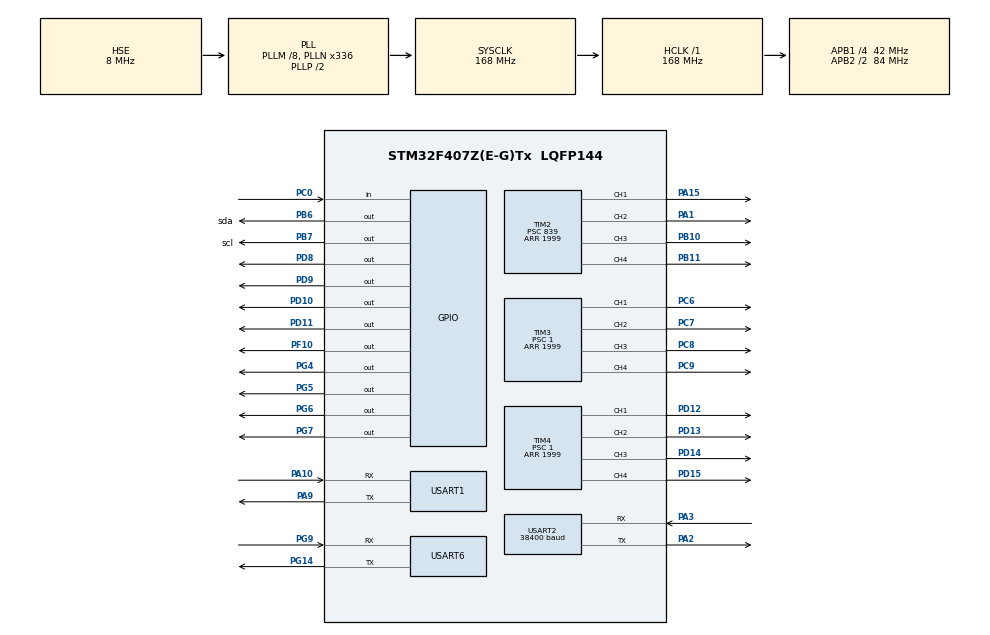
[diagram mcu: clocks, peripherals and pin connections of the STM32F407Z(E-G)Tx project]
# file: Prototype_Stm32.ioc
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Dma.Request0=USART1_RX
Dma.Request1=USART6_RX
Dma.USART1_RX.0.Direction=DMA_PERIPH_TO_MEMORY
Dma.USART1_RX.0.FIFOMode=DMA_FIFOMODE_DISABLE
Dma.USART1_RX.0.Instance=DMA2_Stream5
Dma.USART1_RX.0.MemDataAlignment=DMA_MDATAALIGN_BYTE
Dma.USART1_RX.0.MemInc=DMA_MINC_ENABLE
Dma.USART1_RX.0.Mode=DMA_NORMAL
Dma.USART1_RX.0.PeriphDataAlignment=DMA_PDATAALIGN_BYTE
Dma.USART1_RX.0.PeriphInc=DMA_PINC_DISABLE
Dma.USART1_RX.0.Priority=DMA_PRIORITY_MEDIUM
Dma.USART6_RX.1.Direction=DMA_PERIPH_TO_MEMORY
Dma.USART6_RX.1.FIFOMode=DMA_FIFOMODE_DISABLE
Dma.USART6_RX.1.Instance=DMA2_Stream1
Dma.USART6_RX.1.MemDataAlignment=DMA_MDATAALIGN_BYTE
Dma.USART6_RX.1.MemInc=DMA_MINC_ENABLE
Dma.USART6_RX.1.Mode=DMA_NORMAL
Dma.USART6_RX.1.PeriphDataAlignment=DMA_PDATAALIGN_BYTE
Dma.USART6_RX.1.PeriphInc=DMA_PINC_DISABLE
Dma.USART6_RX.1.Priority=DMA_PRIORITY_MEDIUM
FREERTOS.Tasks01=defaultTask,24,512,StartDefaultTask,Default,NULL,Dynamic,NULL,NULL;fun_ctrl_task,11,512,fun_ctrl_Task,Default,NULL,Dynamic,NULL,NULL;status_task,8,512,Status_Task,Default,NULL,Dynamic,NULL,NULL;neckTask,8,512,NeckTask,Default,NULL,Dynamic,NULL,NULL;uartTxTask,24,256,UartTxTask,Default,NULL,Dynamic,NULL,NULL;wheel_status_ta,8,128,Wheel_Status_Task,Default,NULL,Dynamic,NULL,NULL
Mcu.Family=STM32F4
Mcu.Name=STM32F407Z(E-G)Tx
Mcu.Package=LQFP144
NVIC.DMA2_Stream1_IRQn=true\:5\:0\:false\:false\:true\:true\:false\:true\:true
NVIC.DMA2_Stream5_IRQn=true\:5\:0\:false\:false\:true\:true\:false\:true\:true
NVIC.PriorityGroup=NVIC_PRIORITYGROUP_4
NVIC.TIM1_UP_TIM10_IRQn=true\:15\:0\:false\:false\:true\:false\:false\:true\:true
NVIC.TimeBase=TIM1_UP_TIM10_IRQn
NVIC.TimeBaseIP=TIM1
NVIC.USART1_IRQn=true\:5\:0\:true\:false\:true\:true\:true\:true\:true
NVIC.USART2_IRQn=true\:5\:0\:false\:false\:true\:true\:true\:true\:true
NVIC.USART6_IRQn=true\:5\:0\:false\:false\:true\:true\:true\:true\:true
PA1.Signal=S_TIM2_CH2
PA10.Mode=Asynchronous
PA10.Signal=USART1_RX
PA13.Mode=Serial_Wire
PA13.Signal=SYS_JTMS-SWDIO
PA14.Mode=Serial_Wire
PA14.Signal=SYS_JTCK-SWCLK
PA15.Signal=S_TIM2_CH1_ETR
PA2.Mode=Asynchronous
PA2.Signal=USART2_TX
PA3.Mode=Asynchronous
PA3.Signal=USART2_RX
PA9.Mode=Asynchronous
PA9.Signal=USART1_TX
PB10.Signal=S_TIM2_CH3
PB11.Signal=S_TIM2_CH4
PB6.GPIO_Label=sda
PB6.GPIO_ModeDefaultOutputPP=GPIO_MODE_OUTPUT_OD
PB6.GPIO_PuPd=GPIO_PULLUP
PB6.GPIO_Speed=GPIO_SPEED_FREQ_HIGH
PB6.Signal=GPIO_Output
PB7.GPIO_Label=scl
PB7.GPIO_ModeDefaultOutputPP=GPIO_MODE_OUTPUT_OD
PB7.GPIO_PuPd=GPIO_NOPULL
PB7.GPIO_Speed=GPIO_SPEED_FREQ_HIGH
PB7.Signal=GPIO_Output
PC0.Signal=GPIO_Input
PC6.Signal=S_TIM3_CH1
PC7.Signal=S_TIM3_CH2
PC8.Signal=S_TIM3_CH3
PC9.Signal=S_TIM3_CH4
PD10.Signal=GPIO_Output
PD11.Signal=GPIO_Output
PD12.Signal=S_TIM4_CH1
PD13.Signal=S_TIM4_CH2
PD14.Signal=S_TIM4_CH3
PD15.Signal=S_TIM4_CH4
PD8.Signal=GPIO_Output
PD9.Signal=GPIO_Output
PF10.PinState=GPIO_PIN_SET
PF10.Signal=GPIO_Output
PG14.Mode=Asynchronous
PG14.Signal=USART6_TX
PG4.Signal=GPIO_Output
PG5.Signal=GPIO_Output
PG6.Signal=GPIO_Output
PG7.Signal=GPIO_Output
PG9.Mode=Asynchronous
PG9.Signal=USART6_RX
PH0-OSC_IN.Mode=HSE-External-Oscillator
PH0-OSC_IN.Signal=RCC_OSC_IN
PH1-OSC_OUT.Mode=HSE-External-Oscillator
PH1-OSC_OUT.Signal=RCC_OSC_OUT
ProjectManager.HeapSize=0x400
ProjectManager.StackSize=0x1000
ProjectManager.TargetToolchain=MDK-ARM V5.32
RCC.48MHZClocksFreq_Value=84000000
RCC.AHBFreq_Value=168000000
RCC.APB1CLKDivider=RCC_HCLK_DIV4
RCC.APB1Freq_Value=42000000
RCC.APB1TimFreq_Value=84000000
RCC.APB2CLKDivider=RCC_HCLK_DIV2
RCC.APB2Freq_Value=84000000
RCC.APB2TimFreq_Value=168000000
RCC.CortexFreq_Value=168000000
RCC.HCLKFreq_Value=168000000
RCC.HSE_VALUE=8000000
RCC.HSI_VALUE=16000000
RCC.LSE_VALUE=32768
RCC.PLLM=8
RCC.PLLN=336
RCC.PLLSourceVirtual=RCC_PLLSOURCE_HSE
RCC.SYSCLKFreq_VALUE=168000000
RCC.SYSCLKSource=RCC_SYSCLKSOURCE_PLLCLK
RCC.VCOOutputFreq_Value=336000000
SH.S_TIM2_CH1_ETR.0=TIM2_CH1,PWM Generation1 CH1
SH.S_TIM2_CH2.0=TIM2_CH2,PWM Generation2 CH2
SH.S_TIM2_CH3.0=TIM2_CH3,PWM Generation3 CH3
SH.S_TIM2_CH4.0=TIM2_CH4,PWM Generation4 CH4
SH.S_TIM3_CH1.0=TIM3_CH1,PWM Generation1 CH1
SH.S_TIM3_CH2.0=TIM3_CH2,PWM Generation2 CH2
SH.S_TIM3_CH3.0=TIM3_CH3,PWM Generation3 CH3
SH.S_TIM3_CH4.0=TIM3_CH4,PWM Generation4 CH4
SH.S_TIM4_CH1.0=TIM4_CH1,PWM Generation1 CH1
SH.S_TIM4_CH2.0=TIM4_CH2,PWM Generation2 CH2
SH.S_TIM4_CH3.0=TIM4_CH3,PWM Generation3 CH3
SH.S_TIM4_CH4.0=TIM4_CH4,PWM Generation4 CH4
TIM2.Channel-PWM\ Generation1\ CH1=TIM_CHANNEL_1
TIM2.Channel-PWM\ Generation2\ CH2=TIM_CHANNEL_2
TIM2.Channel-PWM\ Generation3\ CH3=TIM_CHANNEL_3
TIM2.Channel-PWM\ Generation4\ CH4=TIM_CHANNEL_4
TIM2.Period=1999
TIM2.Prescaler=839
TIM3.Channel-PWM\ Generation1\ CH1=TIM_CHANNEL_1
TIM3.Channel-PWM\ Generation2\ CH2=TIM_CHANNEL_2
TIM3.Channel-PWM\ Generation3\ CH3=TIM_CHANNEL_3
TIM3.Channel-PWM\ Generation4\ CH4=TIM_CHANNEL_4
TIM3.Period=1999
TIM3.Prescaler=1
TIM4.Channel-PWM\ Generation1\ CH1=TIM_CHANNEL_1
TIM4.Channel-PWM\ Generation2\ CH2=TIM_CHANNEL_2
TIM4.Channel-PWM\ Generation3\ CH3=TIM_CHANNEL_3
TIM4.Channel-PWM\ Generation4\ CH4=TIM_CHANNEL_4
TIM4.Period=1999
TIM4.Prescaler=1
USART1.VirtualMode=VM_ASYNC
USART2.BaudRate=38400
USART2.VirtualMode=VM_ASYNC
USART6.VirtualMode=VM_ASYNC
VP_FREERTOS_VS_CMSIS_V2.Mode=CMSIS_V2
VP_SYS_VS_tim1.Mode=TIM1
board=custom

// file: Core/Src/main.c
/* USER CODE BEGIN Header */
/**
  ******************************************************************************
  * @file           : main.c
  * @brief          : Main program body
  ******************************************************************************
  * @attention
  *
  * Copyright (c) 2025 STMicroelectronics.
  * All rights reserved.
  *
  * This software is licensed under terms that can be found in the LICENSE file
  * in the root directory of this software component.
  * If no LICENSE file comes with this software, it is provided AS-IS.
  *
  ******************************************************************************
  */
/* USER CODE END Header */
#include "main.h"
#include "cmsis_os.h"
#include "dma.h"
#include "tim.h"
#include "usart.h"
#include "gpio.h"

/* USER CODE BEGIN Includes */
#include "user_main.h"
/* USER CODE END Includes */

void SystemClock_Config(void);
void MX_FREERTOS_Init(void);

/* USER CODE BEGIN 0 */
xUART_TypeDef xUART2 = {0};
/* USER CODE END 0 */

int main(void)
{

  /* MCU Configuration--------------------------------------------------------*/

  /* Reset of all peripherals, Initializes the Flash interface and the Systick. */
  HAL_Init();

  /* Configure the system clock */
  SystemClock_Config();

  /* Initialize all configured peripherals */
  MX_GPIO_Init();
  MX_DMA_Init();
  MX_USART1_UART_Init();
  MX_USART2_UART_Init();
  MX_TIM3_Init();
  MX_TIM4_Init();
  MX_TIM2_Init();
  MX_USART6_UART_Init();
  /* USER CODE BEGIN 2 */
	if (HAL_TIM_PWM_Start(&htim2, TIM_CHANNEL_1) != HAL_OK) { Error_Handler(); }
  if (HAL_TIM_PWM_Start(&htim2, TIM_CHANNEL_2) != HAL_OK) { Error_Handler(); }
  if (HAL_TIM_PWM_Start(&htim2, TIM_CHANNEL_3) != HAL_OK) { Error_Handler(); }
  if (HAL_TIM_PWM_Start(&htim2, TIM_CHANNEL_4) != HAL_OK) { Error_Handler(); }

	if (HAL_TIM_PWM_Start(&htim3, TIM_CHANNEL_1) != HAL_OK) { Error_Handler(); }
  if (HAL_TIM_PWM_Start(&htim3, TIM_CHANNEL_2) != HAL_OK) { Error_Handler(); }
  if (HAL_TIM_PWM_Start(&htim3, TIM_CHANNEL_3) != HAL_OK) { Error_Handler(); }
  if (HAL_TIM_PWM_Start(&htim3, TIM_CHANNEL_4) != HAL_OK) { Error_Handler(); }

  if (HAL_TIM_PWM_Start(&htim4, TIM_CHANNEL_1) != HAL_OK) { Error_Handler(); }
  if (HAL_TIM_PWM_Start(&htim4, TIM_CHANNEL_2) != HAL_OK) { Error_Handler(); }
  if (HAL_TIM_PWM_Start(&htim4, TIM_CHANNEL_3) != HAL_OK) { Error_Handler(); }
  if (HAL_TIM_PWM_Start(&htim4, TIM_CHANNEL_4) != HAL_OK) { Error_Handler(); }

	Stepper_Init();
	delay_init();

	HAL_Delay(3000);
	moto_r_init();
	moto_l_init();
  /* USER CODE END 2 */

  /* Init scheduler */
  osKernelInitialize();  /* Call init function for freertos objects (in cmsis_os2.c) */
  MX_FREERTOS_Init();

  /* Start scheduler */
  osKernelStart();

  /* We should never get here as control is now taken by the scheduler */

  /* Infinite loop */
  /* USER CODE BEGIN WHILE */
	user_main();

  while (1)
  {
    /* USER CODE END WHILE */

  }
}

void SystemClock_Config(void)
{
  RCC_OscInitTypeDef RCC_OscInitStruct = {0};
  RCC_ClkInitTypeDef RCC_ClkInitStruct = {0};

  /** Configure the main internal regulator output voltage
  */
  __HAL_RCC_PWR_CLK_ENABLE();
  __HAL_PWR_VOLTAGESCALING_CONFIG(PWR_REGULATOR_VOLTAGE_SCALE1);

  /** Initializes the RCC Oscillators according to the specified parameters
  * in the RCC_OscInitTypeDef structure.
  */
  RCC_OscInitStruct.OscillatorType = RCC_OSCILLATORTYPE_HSE;
  RCC_OscInitStruct.HSEState = RCC_HSE_ON;
  RCC_OscInitStruct.PLL.PLLState = RCC_PLL_ON;
  RCC_OscInitStruct.PLL.PLLSource = RCC_PLLSOURCE_HSE;
  RCC_OscInitStruct.PLL.PLLM = 8;
  RCC_OscInitStruct.PLL.PLLN = 336;
  RCC_OscInitStruct.PLL.PLLP = RCC_PLLP_DIV2;
  RCC_OscInitStruct.PLL.PLLQ = 4;
  if (HAL_RCC_OscConfig(&RCC_OscInitStruct) != HAL_OK)
  {
    Error_Handler();
  }

  /** Initializes the CPU, AHB and APB buses clocks
  */
  RCC_ClkInitStruct.ClockType = RCC_CLOCKTYPE_HCLK|RCC_CLOCKTYPE_SYSCLK
                              |RCC_CLOCKTYPE_PCLK1|RCC_CLOCKTYPE_PCLK2;
  RCC_ClkInitStruct.SYSCLKSource = RCC_SYSCLKSOURCE_PLLCLK;
  RCC_ClkInitStruct.AHBCLKDivider = RCC_SYSCLK_DIV1;
  RCC_ClkInitStruct.APB1CLKDivider = RCC_HCLK_DIV4;
  RCC_ClkInitStruct.APB2CLKDivider = RCC_HCLK_DIV2;

  if (HAL_RCC_ClockConfig(&RCC_ClkInitStruct, FLASH_LATENCY_5) != HAL_OK)
  {
    Error_Handler();
  }
}

void HAL_TIM_PeriodElapsedCallback(TIM_HandleTypeDef *htim)
{
  if (htim->Instance == TIM1)
  {
    HAL_IncTick();
  }
}

void Error_Handler(void)
{
  __disable_irq();
  while (1)
  {
  }
}

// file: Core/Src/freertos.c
/* USER CODE BEGIN Header */
/**
  ******************************************************************************
  * File Name          : freertos.c
  * Description        : Code for freertos applications
  ******************************************************************************
  * @attention
  *
  * Copyright (c) 2025 STMicroelectronics.
  * All rights reserved.
  *
  * This software is licensed under terms that can be found in the LICENSE file
  * in the root directory of this software component.
  * If no LICENSE file comes with this software, it is provided AS-IS.
  *
  ******************************************************************************
  */
/* USER CODE END Header */

#include "FreeRTOS.h"
#include "task.h"
#include "main.h"
#include "cmsis_os.h"

/* USER CODE BEGIN Includes */
#include "usart.h"
#include "user_main.h"
#include "demo.h"
#include "../Platform/IMU/lsm6dsv16x_reg.h"
#include "../Platform/IMU/atk_ms6dsv.h"
/* USER CODE END Includes */

/* USER CODE BEGIN PD */
	uint8_t ret;
	int16_t data_raw_acceleration[3];
	int16_t data_raw_angular_rate[3];
/* USER CODE END PD */

/* Definitions for defaultTask */
osThreadId_t defaultTaskHandle;
const osThreadAttr_t defaultTask_attributes = {
  .name = "defaultTask",
  .stack_size = 512 * 4,
  .priority = (osPriority_t) osPriorityNormal,
};
/* Definitions for fun_ctrl_task */
osThreadId_t fun_ctrl_taskHandle;
const osThreadAttr_t fun_ctrl_task_attributes = {
  .name = "fun_ctrl_task",
  .stack_size = 512 * 4,
  .priority = (osPriority_t) osPriorityLow3,
};
/* Definitions for status_task */
osThreadId_t status_taskHandle;
const osThreadAttr_t status_task_attributes = {
  .name = "status_task",
  .stack_size = 512 * 4,
  .priority = (osPriority_t) osPriorityLow,
};
/* Definitions for neckTask */
osThreadId_t neckTaskHandle;
const osThreadAttr_t neckTask_attributes = {
  .name = "neckTask",
  .stack_size = 512 * 4,
  .priority = (osPriority_t) osPriorityLow,
};
/* Definitions for uartTxTask */
osThreadId_t uartTxTaskHandle;
const osThreadAttr_t uartTxTask_attributes = {
  .name = "uartTxTask",
  .stack_size = 256 * 4,
  .priority = (osPriority_t) osPriorityNormal,
};
/* Definitions for wheel_status_ta */
osThreadId_t wheel_status_taHandle;
const osThreadAttr_t wheel_status_ta_attributes = {
  .name = "wheel_status_ta",
  .stack_size = 128 * 4,
  .priority = (osPriority_t) osPriorityLow,
};

/* USER CODE BEGIN FunctionPrototypes */
typedef struct {
    int16_t angle;
		int16_t pitch_angle;
} neck_cmd_t;

QueueHandle_t neckQueue;
QueueHandle_t uartQueue;
QueueHandle_t uartTxQueue;
QueueHandle_t motorCmdQueue;

osMutexId_t uart_mutex;
fsm_lib_return main_ctrl_fsm(fsm_lib_ctrl_handle *handle);
fsm_lib_ctrl_handle main_ctrl_fsm_handle;
int32_t mileage_r = 0;
int16_t cur_pos_r = 0;
int32_t mileage_l = 0;
int16_t cur_pos_l = 0;
uint8_t send_data[16];
uart_tx_frame_t tx;
uint32_t ts;
volatile uint32_t imu_time_base = 0;

/* USER CODE END FunctionPrototypes */

void StartDefaultTask(void *argument);
void fun_ctrl_Task(void *argument);
void Status_Task(void *argument);
void NeckTask(void *argument);
void UartTxTask(void *argument);
void Wheel_Status_Task(void *argument);

void MX_FREERTOS_Init(void); /* (MISRA C 2004 rule 8.1) */

void MX_FREERTOS_Init(void) {

  /* USER CODE BEGIN RTOS_QUEUES */
  /* add queues, ... */

	uartQueue = xQueueCreate(8,sizeof(uart_frame_t));
	configASSERT(uartQueue != NULL);
	uartTxQueue = xQueueCreate(8, sizeof(uart_tx_frame_t));
	configASSERT(uartTxQueue);
	neckQueue = xQueueCreate(8, sizeof(neck_cmd_t));
	configASSERT(neckQueue != NULL);
	motorCmdQueue = xQueueCreate(4, sizeof(cmd_vel_t));
	configASSERT(motorCmdQueue != NULL);

	uart_mutex = osMutexNew(NULL);
  configASSERT(uart_mutex != NULL);
  /* USER CODE END RTOS_QUEUES */

  /* Create the thread(s) */
  /* creation of defaultTask */
  defaultTaskHandle = osThreadNew(StartDefaultTask, NULL, &defaultTask_attributes);

  /* creation of fun_ctrl_task */
  fun_ctrl_taskHandle = osThreadNew(fun_ctrl_Task, NULL, &fun_ctrl_task_attributes);

  /* creation of status_task */
  status_taskHandle = osThreadNew(Status_Task, NULL, &status_task_attributes);

  /* creation of neckTask */
  neckTaskHandle = osThreadNew(NeckTask, NULL, &neckTask_attributes);

  /* creation of uartTxTask */
  uartTxTaskHandle = osThreadNew(UartTxTask, NULL, &uartTxTask_attributes);

  /* creation of wheel_status_ta */
  wheel_status_taHandle = osThreadNew(Wheel_Status_Task, NULL, &wheel_status_ta_attributes);

}

/* USER CODE BEGIN Header_StartDefaultTask */
/**
  * @brief  Function implementing the defaultTask thread.
  * @param  argument: Not used
  * @retval None
  */
serial_frame_t pkt;
cmd_vel_t cmd;
neck_cmd_t neck_cmd;
uint8_t  cur_cmd;
float v_left_ret  = 0.0f;
float v_right_ret = 0.0f;
/* USER CODE END Header_StartDefaultTask */
void StartDefaultTask(void *argument)
{
  /* USER CODE BEGIN StartDefaultTask */
  /* Infinite loop */
  uint16_t rx_len;
	uart_frame_t frame;
	uint8_t tx_buf[32];
	uint16_t tx_len;
	//test git
	for (;;)
	{
			if (xQueueReceive(uartQueue,&frame,portMAX_DELAY) == pdPASS)
      {
					//Unpacking
					//printf("%s", frame.data);
					serial_frame_ret_t ret =
                serial_frame_parse((uint8_t *)frame.data, frame.len, &pkt);
						cur_cmd = pkt.cmd;
            if (ret == SERIAL_FRAME_OK)
            {
                switch (pkt.cmd)
                {
                case 0x01:
								{
												cmd.linear_x_mm_s =
									(int16_t)((pkt.data[0] << 8) | pkt.data[1]);
												cmd.angular_z_mrad =
									(int16_t)((pkt.data[2] << 8) | pkt.data[3]);
											xQueueSendToBack(motorCmdQueue, &cmd, 0);
										break;
								}

                case 0x02:
								{
									  ArmGive();
										uint8_t ack_data[] = {0x00};
										tx_len = serial_frame_build(0x82, ack_data, 1,tx_buf, sizeof(tx_buf));
										HAL_UART_Transmit(&huart6, tx_buf, tx_len, 100);
                    break;
								}
								case 0x03:
								{
										ArmWave();
										uint8_t ack_data[] = {0x00};
										tx_len = serial_frame_build(0x83, ack_data, 1,tx_buf, sizeof(tx_buf));
										HAL_UART_Transmit(&huart6, tx_buf, tx_len, 100);
                    break;
								}
                case 0x04:
								{
										ArmRaise();
										uint8_t ack_data[] = {0x00};
										tx_len = serial_frame_build(0x84, ack_data, 1,tx_buf, sizeof(tx_buf));
										HAL_UART_Transmit(&huart6, tx_buf, tx_len, 100);
                    break;
								}
								case 0x05:
								{
										//ack
										neck_cmd.angle       = (int16_t)((pkt.data[0] << 8) | pkt.data[1]);
										neck_cmd.pitch_angle = (int16_t)((pkt.data[2] << 8) | pkt.data[3]);

										xQueueSendToBack(neckQueue, &neck_cmd, 0);

										uint8_t ack_data[] = {0x00};
										tx_len = serial_frame_build(0x85, ack_data, 1,tx_buf, sizeof(tx_buf));
										HAL_UART_Transmit(&huart6, tx_buf, tx_len, 100);
                    break;
								}
                case 0x06:
								{
										ArmRaise2();
										uint8_t ack_data[] = {0x00};
										tx_len = serial_frame_build(0x86, ack_data, 1,tx_buf, sizeof(tx_buf));
										HAL_UART_Transmit(&huart6, tx_buf, tx_len, 100);
                    break;
								}
								case 0x07:
								{
										ArmRaise3();
										uint8_t ack_data[] = {0x00};
										tx_len = serial_frame_build(0x87, ack_data, 1,tx_buf, sizeof(tx_buf));
										HAL_UART_Transmit(&huart6, tx_buf, tx_len, 100);
                    break;
								}
								case 0x08:
								{
										NeckUpDown();
										uint8_t ack_data[] = {0x00};
										tx_len = serial_frame_build(0x88, ack_data, 1,tx_buf, sizeof(tx_buf));
										HAL_UART_Transmit(&huart6, tx_buf, tx_len, 100);
                    break;
								}
								case 0x09:
								{
										Armidle1();
										uint8_t ack_data[] = {0x00};
										tx_len = serial_frame_build(0x89, ack_data, 1,tx_buf, sizeof(tx_buf));
										HAL_UART_Transmit(&huart6, tx_buf, tx_len, 100);
                    break;
								}
                default:
                    break;
                }
            }
            else
            {
            }
      }
			osDelay(10);
	}
  /* USER CODE END StartDefaultTask */
}

/* USER CODE BEGIN Header_fun_ctrl_Task */
/**
* @brief Function implementing the fun_ctrl_task thread.
* @param argument: Not used
* @retval None

*/
int16_t ret_speed,ret_speed_r;
int32_t v_left_mm_s,v_right_mm_s;
/* USER CODE END Header_fun_ctrl_Task */
void fun_ctrl_Task(void *argument)
{
  /* USER CODE BEGIN fun_ctrl_Task */

	//neck_init
	Neckinit();

	fsm_lib_start(&main_ctrl_fsm_handle);
  /* Infinite loop */
	int16_t start_angle = 70;
  int16_t end_angle   = 140;
	int16_t pitch_start = 0;
  int16_t pitch_end   = 60;
  //neck_cmd_t cmd;
	float v_left, v_right;
	cmd_vel_t cmd;
	//GoAhead();
//	ArmGive();
//	osDelay(1000);
//	Armidle1();
//	osDelay(1000);
//	Armidle1();
//	osDelay(1000);
//	Armidle1();
//	osDelay(1000);
//	ArmRaise();
//	osDelay(1000);
//	ArmRaise1();
//	osDelay(1000);
//	ArmRaise2();
//	osDelay(1000);
//	ArmRaise3();
//	NeckUpDown();
//	osDelay(3000);
//	NeckUpDown();
		for(;;)
{
    if (xQueueReceive(motorCmdQueue, &cmd, portMAX_DELAY) == pdPASS)
    {
        if (osMutexAcquire(uart_mutex, osWaitForever) == osOK)
        {
            float v_left_mps  = 0.0f;
            float v_right_mps = 0.0f;

            motor_set_get_speed_from_cmd(&cmd, 10, &v_left_mps, &v_right_mps);

            int32_t mileage_r = m0603a_lib_get_mileage_count(&motor_r_handle);
            int32_t cur_pos_r = m0603a_lib_get_cur_pos(&motor_r_handle);
            int32_t mileage_l = m0603a_lib_get_mileage_count(&motor_l_handle);
            int32_t cur_pos_l = m0603a_lib_get_cur_pos(&motor_l_handle);

            v_left_mm_s  = (int32_t)(v_left_mps  * 10000.0f);
            v_right_mm_s = (int32_t)(v_right_mps * 10000.0f);

            uint8_t send_data[24];
            ts = imu_time_base;

            send_data[0] = ts >> 24;
            send_data[1] = ts >> 16;
            send_data[2] = ts >> 8;
            send_data[3] = ts & 0xFF;

            send_data[4]  = mileage_l >> 24;
            send_data[5]  = mileage_l >> 16;
            send_data[6]  = mileage_l >> 8;
            send_data[7]  = mileage_l & 0xFF;
            send_data[8]  = cur_pos_l >> 8;
            send_data[9]  = cur_pos_l & 0xFF;

            send_data[10] = v_left_mm_s >> 24;
            send_data[11] = v_left_mm_s >> 16;
            send_data[12] = v_left_mm_s >> 8;
            send_data[13] = v_left_mm_s & 0xFF;

            send_data[14] = mileage_r >> 24;
            send_data[15] = mileage_r >> 16;
            send_data[16] = mileage_r >> 8;
            send_data[17] = mileage_r & 0xFF;
            send_data[18] = cur_pos_r >> 8;
            send_data[19] = cur_pos_r & 0xFF;

            send_data[20] = v_right_mm_s >> 24;
            send_data[21] = v_right_mm_s >> 16;
            send_data[22] = v_right_mm_s >> 8;
            send_data[23] = v_right_mm_s & 0xFF;

            uart_tx_frame_t tx;
            tx.len = serial_frame_build(0x81, send_data, sizeof(send_data), tx.buf, sizeof(tx.buf));
            xQueueSendToBack(uartTxQueue, &tx, 0);

            osMutexRelease(uart_mutex);
        }
    }
    osDelay(1);
}
  /* USER CODE END fun_ctrl_Task */
}

void Status_Task(void *argument)
{
  /* USER CODE BEGIN Status_Task */
	uint32_t last_led_tick = 0;
	uint32_t last_motor_tick = 0;
  ret = atk_ms6dsv_init();
  if (ret != 0)
  {
      printf("ATK-MS6DSV init failed!\r\n");
		  osDelay(200);
  }

	lsm6dsv16x_filt_settling_mask_t filt_settling_mask;
	lsm6dsv16x_data_ready_t drdy;
	uint8_t imu_data[16];
	int16_t data_raw_temperature;

	float acceleration_mg[3];
	float angular_rate_mdps[3];
  lsm6dsv16x_xl_data_rate_set(&atk_ms6dsv, LSM6DSV16X_ODR_AT_240Hz);
  lsm6dsv16x_gy_data_rate_set(&atk_ms6dsv, LSM6DSV16X_ODR_AT_240Hz);

  lsm6dsv16x_xl_full_scale_set(&atk_ms6dsv, LSM6DSV16X_2g);
  lsm6dsv16x_gy_full_scale_set(&atk_ms6dsv, LSM6DSV16X_2000dps);

	lsm6dsv16x_timestamp_set(&atk_ms6dsv, PROPERTY_ENABLE);

  filt_settling_mask.drdy = PROPERTY_ENABLE;
  filt_settling_mask.irq_xl = PROPERTY_ENABLE;
  filt_settling_mask.irq_g = PROPERTY_ENABLE;
  lsm6dsv16x_filt_settling_mask_set(&atk_ms6dsv, filt_settling_mask);
  lsm6dsv16x_filt_gy_lp1_set(&atk_ms6dsv, PROPERTY_ENABLE);
  lsm6dsv16x_filt_gy_lp1_bandwidth_set(&atk_ms6dsv, LSM6DSV16X_GY_ULTRA_LIGHT);
  lsm6dsv16x_filt_xl_lp2_set(&atk_ms6dsv, PROPERTY_ENABLE);
  lsm6dsv16x_filt_xl_lp2_bandwidth_set(&atk_ms6dsv, LSM6DSV16X_XL_STRONG);
	//uart_tx_frame_t tx;
	uint8_t tx_buf[64];
	uint16_t tx_len;
	static uint32_t last_wheel_tx_tick = 0;
	const uint32_t wheel_tx_interval = 50; // 50ms = 20Hz
  /* Infinite loop */
  for(;;)
  {
		//touch senior  todo
		  uint32_t now = osKernelGetTickCount();
		  if (now - last_led_tick >= 1000)
		  {
				  last_led_tick = now;
				  HAL_GPIO_TogglePin(GPIOF, GPIO_PIN_10);
		  }

		  //imu
      lsm6dsv16x_flag_data_ready_get(&atk_ms6dsv, &drdy);
      if (drdy.drdy_xl)
      {
           lsm6dsv16x_acceleration_raw_get(&atk_ms6dsv, data_raw_acceleration);
           acceleration_mg[0] = lsm6dsv16x_from_fs2_to_mg(data_raw_acceleration[0]);
           acceleration_mg[1] = lsm6dsv16x_from_fs2_to_mg(data_raw_acceleration[1]);
           acceleration_mg[2] = lsm6dsv16x_from_fs2_to_mg(data_raw_acceleration[2]);
      }

      if (drdy.drdy_gy)
      {
           lsm6dsv16x_angular_rate_raw_get(&atk_ms6dsv, data_raw_angular_rate);
           angular_rate_mdps[0] = lsm6dsv16x_from_fs2000_to_mdps(data_raw_angular_rate[0]);
           angular_rate_mdps[1] = lsm6dsv16x_from_fs2000_to_mdps(data_raw_angular_rate[1]);
           angular_rate_mdps[2] = lsm6dsv16x_from_fs2000_to_mdps(data_raw_angular_rate[2]);
      }

			uint32_t imu_ts;
			lsm6dsv16x_timestamp_raw_get(&atk_ms6dsv, &imu_ts);
			imu_time_base = imu_ts;
			imu_data[0] = imu_ts >> 24;
			imu_data[1] = imu_ts >> 16;
			imu_data[2] = imu_ts >> 8;
			imu_data[3] = imu_ts & 0xFF;

			int16_t ax =(int16_t)acceleration_mg[0];
			int16_t ay =(int16_t)acceleration_mg[1];
			int16_t az =(int16_t)acceleration_mg[2];
			int16_t gx = (int16_t)angular_rate_mdps[0];
			int16_t gy = (int16_t)angular_rate_mdps[1];
			int16_t gz = (int16_t)angular_rate_mdps[2];
			imu_data[4]  = ax >> 8;
			imu_data[5]  = ax & 0xFF;
			imu_data[6]  = ay >> 8;
			imu_data[7]  = ay & 0xFF;
			imu_data[8]  = az >> 8;
			imu_data[9]  = az & 0xFF;
			imu_data[10] = gx >> 8;
			imu_data[11] = gx & 0xFF;
			imu_data[12] = gy >> 8;
			imu_data[13] = gy & 0xFF;
			imu_data[14] = gz >> 8;
			imu_data[15] = gz & 0xFF;
			tx.len = serial_frame_build(
						0x11,
					imu_data,
					sizeof(imu_data),
					tx.buf,
					sizeof(tx.buf)
			);

			xQueueSendToBack(uartTxQueue, &tx, 0);
			osDelay(5);
  }
  /* USER CODE END Status_Task */
}

void NeckTask(void *argument)
{
  /* USER CODE BEGIN NeckTask */
  /* Infinite loop */
	TickType_t last = xTaskGetTickCount();
	neck_cmd_t cmd;
  for(;;)
  {
      if (xQueueReceive(neckQueue, &cmd, portMAX_DELAY) == pdTRUE)
        {
            Neck_R_SetTargetAngle(cmd.angle);
            Neck_Pitch_SetTargetAngle(cmd.pitch_angle);
            while (neck_r_cur_angle != neck_r_target_angle ||
                   neck_pitch_cur  != neck_pitch_target)
            {
                Neck_Pitch_Update();
                vTaskDelay(pdMS_TO_TICKS(20));
            }
        }
  }
  /* USER CODE END NeckTask */
}

void UartTxTask(void *argument)
{
  /* USER CODE BEGIN UartTxTask */
	uart_tx_frame_t frame;
  /* Infinite loop */
  for(;;)
  {
		if (xQueueReceive(uartTxQueue, &frame, portMAX_DELAY) == pdPASS)
    {
         HAL_UART_Transmit(&huart6, frame.buf, frame.len, 10);
    }
    osDelay(1);
  }
  /* USER CODE END UartTxTask */
}

void Wheel_Status_Task(void *argument)
{
  /* USER CODE BEGIN Wheel_Status_Task */
    /* Infinite loop */
//	int16_t start_angle = 70;
//  int16_t end_angle   = 70;
//	int16_t pitch_start = -30;
//  int16_t pitch_end   = 0;
//  neck_cmd_t cmd;
    for (;;)
    {
//	      cmd.angle       = end_angle;
//        cmd.pitch_angle = pitch_end;
//        xQueueSendToBack(neckQueue, &cmd, 0);
//        osDelay(1000);

//        cmd.angle       = start_angle;
//        cmd.pitch_angle = pitch_start;
//        xQueueSendToBack(neckQueue, &cmd, 0);
        osDelay(1000);
    }
  /* USER CODE END Wheel_Status_Task */
}

/* USER CODE BEGIN Application */
/**
 * @brief   fun_ctrl fsm
 */
fsm_lib_return main_ctrl_fsm(fsm_lib_ctrl_handle *handle) {
    enum {
        idle = 0,
        start,
        end,
        error,
        seft_tset,
        running,
        exit,
        func_error,
    };
    fsm_lib_check_emergency(handle);

    switch (handle->state) {
        fsm_lib_state(idle) {
						printf("main_ctrl_fsm idle\r\n");
            fsm_lib_release(handle, fsm_rt_idle);
        }
        break;

        fsm_lib_state(start) {
					  printf("main_ctrl_fsm start\r\n");
            fsm_lib_update_to(handle, seft_tset);
        }
        break;

        fsm_lib_state(end) {
            fsm_lib_transfer_to(handle, idle, fsm_rt_cpl);
        }
        break;

        fsm_lib_state(error) {}
        break;
        fsm_lib_state(seft_tset) {
            printf("main_ctrl_fsm seft_tset\r\n");
					  fsm_lib_update_to(handle, running);
        }
        break;
        fsm_lib_state(running) {
            printf("main_ctrl_fsm running\r\n");
						fsm_lib_release(handle, fsm_rt_running);
        }
        break;
        fsm_lib_state(exit) {

        }
        break;
        fsm_lib_state(func_error) {

        }
        break;
    }

    return fsm_rt_running;
}
/* USER CODE END Application */
